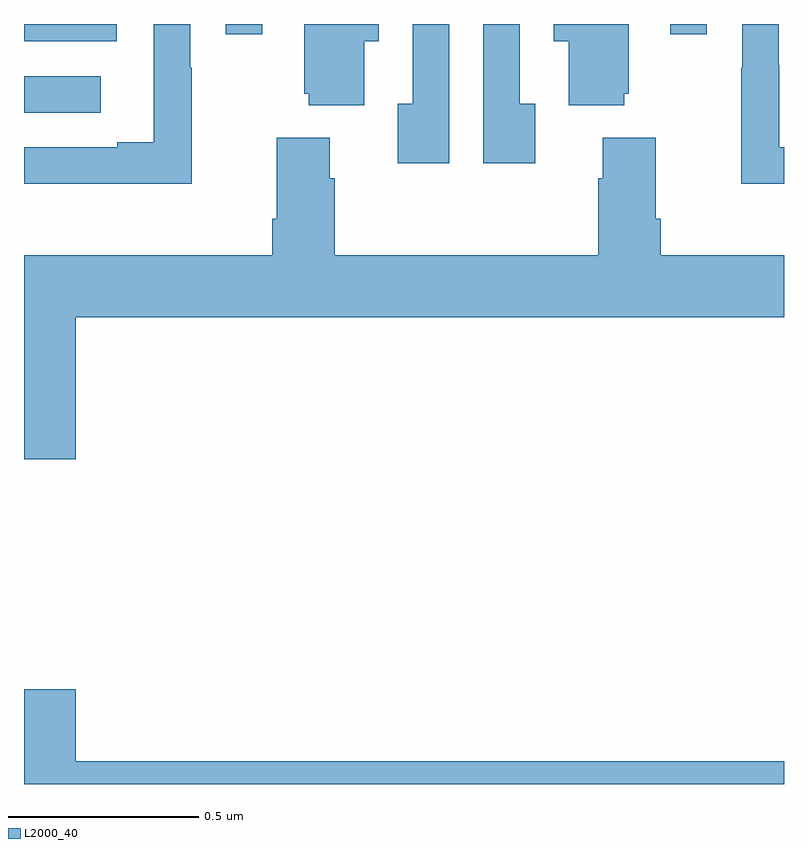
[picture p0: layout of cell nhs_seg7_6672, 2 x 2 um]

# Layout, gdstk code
import gdstk
lib = gdstk.Library(unit=1e-6, precision=1e-09)
def R(c, l, rs):  # rectangles x0, y0, x1, y1
    for r in rs: c.add(gdstk.rectangle(r[:2], r[2:], *l))
def P(c, l, *ps):  # polygons
    for p in ps: c.add(gdstk.Polygon(p, *l))
L2000_40 = (2000, 40)

nhs_seg7_6672 = lib.new_cell('nhs_seg7_6672')
R(nhs_seg7_6672, L2000_40, [(201,1055.766,201.202,1055.862), (201,1055.954,201.244,1056), (201.531,1055.973,201.627,1056), (202.701,1055.973,202.797,1056)])
P(nhs_seg7_6672, L2000_40, [(202.345,1055.79),(202.305,1055.79),(202.305,1056),(202.209,1056),(202.209,1055.634),(202.345,1055.634)],
  [(202.119,1056),(202.023,1056),(202.023,1055.79),(201.983,1055.79),(201.983,1055.634),(202.119,1055.634)],
  [(201.441,1055.885),(201.438,1055.885),(201.438,1056),(201.342,1056),(201.342,1055.689),(201.245,1055.689),(201.245,1055.676),(201,1055.676),(201,1055.579),(201.441,1055.579)],
  [(203,1055.676),(202.987,1055.676),(202.987,1055.891),(202.986,1055.891),(202.986,1056),(202.89,1056),(202.89,1055.885),(202.888,1055.885),(202.888,1055.579),(203,1055.579)],
  [(202.58,1055.817),(202.591,1055.817),(202.591,1056),(202.394,1056),(202.394,1055.954),(202.433,1055.954),(202.433,1055.786),(202.58,1055.786)],
  [(201.895,1055.954),(201.934,1055.954),(201.934,1056),(201.737,1056),(201.737,1055.817),(201.749,1055.817),(201.749,1055.786),(201.895,1055.786)],
  [(201.136,1055.228),(203,1055.228),(203,1055.392),(202.676,1055.392),(202.676,1055.488),(202.663,1055.488),(202.663,1055.701),(202.523,1055.701),(202.523,1055.594),(202.511,1055.594),(202.511,1055.392),(201.818,1055.392),(201.818,1055.594),(201.805,1055.594),(201.805,1055.701),(201.665,1055.701),(201.665,1055.488),(201.653,1055.488),(201.653,1055.392),(201,1055.392),(201,1054.854),(201.136,1054.854)],
  [(203,1054.06),(201.136,1054.06),(201.136,1054.249),(201,1054.249),(201,1054),(203,1054)])

lib.write_gds('nhs_seg7_6672.gds')
